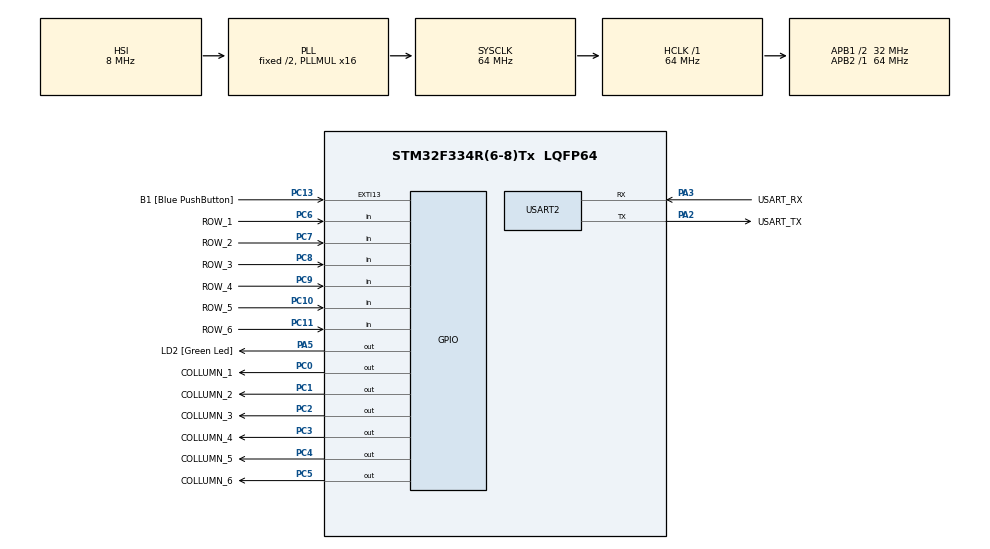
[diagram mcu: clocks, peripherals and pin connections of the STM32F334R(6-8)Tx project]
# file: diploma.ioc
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Mcu.Family=STM32F3
Mcu.Name=STM32F334R(6-8)Tx
Mcu.Package=LQFP64
NVIC.PriorityGroup=NVIC_PRIORITYGROUP_0
NVIC.USART2_IRQn=true\:0\:0\:false\:false\:true\:true\:true\:true
PA13.GPIO_Label=TMS
PA13.Mode=Serial_Wire
PA13.Signal=SYS_JTMS-SWDIO
PA14.GPIO_Label=TCK
PA14.Mode=Serial_Wire
PA14.Signal=SYS_JTCK-SWCLK
PA2.GPIO_Label=USART_TX
PA2.Mode=Asynchronous
PA2.Signal=USART2_TX
PA3.GPIO_Label=USART_RX
PA3.Mode=Asynchronous
PA3.Signal=USART2_RX
PA5.GPIO_Label=LD2 [Green Led]
PA5.Signal=GPIO_Output
PB3.GPIO_Label=SWO
PB3.Signal=SYS_JTDO-TRACESWO
PC0.GPIO_Label=COLLUMN_1
PC0.Signal=GPIO_Output
PC1.GPIO_Label=COLLUMN_2
PC1.Signal=GPIO_Output
PC10.GPIO_Label=ROW_5
PC10.GPIO_PuPd=GPIO_PULLDOWN
PC10.Signal=GPIO_Input
PC11.GPIO_Label=ROW_6
PC11.GPIO_PuPd=GPIO_PULLDOWN
PC11.Signal=GPIO_Input
PC13.GPIO_Label=B1 [Blue PushButton]
PC13.GPIO_ModeDefaultEXTI=GPIO_MODE_IT_FALLING
PC13.Signal=GPXTI13
PC14\ /\ OSC32_IN.Mode=LSE-External-Oscillator
PC14\ /\ OSC32_IN.Signal=RCC_OSC32_IN
PC15\ /\ OSC32_OUT.GPIO_Label=RCC_OSC32_OUT
PC15\ /\ OSC32_OUT.Mode=LSE-External-Oscillator
PC15\ /\ OSC32_OUT.Signal=RCC_OSC32_OUT
PC2.GPIO_Label=COLLUMN_3
PC2.Signal=GPIO_Output
PC3.GPIO_Label=COLLUMN_4
PC3.Signal=GPIO_Output
PC4.GPIO_Label=COLLUMN_5
PC4.Signal=GPIO_Output
PC5.GPIO_Label=COLLUMN_6
PC5.Signal=GPIO_Output
PC6.GPIO_Label=ROW_1
PC6.GPIO_PuPd=GPIO_PULLDOWN
PC6.Signal=GPIO_Input
PC7.GPIO_Label=ROW_2
PC7.GPIO_PuPd=GPIO_PULLDOWN
PC7.Signal=GPIO_Input
PC8.GPIO_Label=ROW_3
PC8.GPIO_PuPd=GPIO_PULLDOWN
PC8.Signal=GPIO_Input
PC9.GPIO_Label=ROW_4
PC9.GPIO_PuPd=GPIO_PULLDOWN
PC9.Signal=GPIO_Input
PF0\ /\ OSC_IN.Mode=HSE-External-Clock-Source
PF0\ /\ OSC_IN.Signal=RCC_OSC_IN
PF1\ /\ OSC_OUT.Signal=RCC_OSC_OUT
ProjectManager.HeapSize=0x200
ProjectManager.StackSize=0x400
ProjectManager.TargetToolchain=STM32CubeIDE
RCC.AHBFreq_Value=64000000
RCC.APB1CLKDivider=RCC_HCLK_DIV2
RCC.APB1Freq_Value=32000000
RCC.APB1TimFreq_Value=64000000
RCC.APB2Freq_Value=64000000
RCC.APB2TimFreq_Value=64000000
RCC.CortexFreq_Value=64000000
RCC.FLatency-AdvancedSettings=FLASH_LATENCY_2
RCC.HCLKFreq_Value=64000000
RCC.HSE_VALUE=8000000
RCC.HSI_VALUE=8000000
RCC.PLLMUL=RCC_PLL_MUL16
RCC.SYSCLKFreq_VALUE=64000000
RCC.SYSCLKSourceVirtual=RCC_SYSCLKSOURCE_PLLCLK
USART2.VirtualMode-Asynchronous=VM_ASYNC
VP_HRTIM1_VS_hrtimMasterTimerNoOutput.Mode=MasterTimer
board=NUCLEO-F334R8

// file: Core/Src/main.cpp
/* USER CODE BEGIN Header */
/**
  ******************************************************************************
  * @file           : main.c
  * @brief          : Main program body
  ******************************************************************************
  * @attention
  *
  * Copyright (c) 2024 STMicroelectronics.
  * All rights reserved.
  *
  * This software is licensed under terms that can be found in the LICENSE file
  * in the root directory of this software component.
  * If no LICENSE file comes with this software, it is provided AS-IS.
  *
  ******************************************************************************
  */
/* USER CODE END Header */
#include "main.h"

/* USER CODE BEGIN Includes */
#include "stdint.h"
#include "matrix.h"
#include "gpio.h"
#include "config.h"
/* USER CODE END Includes */

HRTIM_HandleTypeDef hhrtim1;

UART_HandleTypeDef huart2;

void SystemClock_Config(void);
static void MX_GPIO_Init(void);
static void MX_USART2_UART_Init(void);
static void MX_HRTIM1_Init(void);

int main(void)
{

  /* MCU Configuration--------------------------------------------------------*/

  /* Reset of all peripherals, Initializes the Flash interface and the Systick. */
  HAL_Init();

  /* Configure the system clock */
  SystemClock_Config();

  /* Initialize all configured peripherals */
  MX_GPIO_Init();
  MX_USART2_UART_Init();
  MX_HRTIM1_Init();

  /* Infinite loop */
  /* USER CODE BEGIN WHILE */
  InputPin raw1(ROW_1_GPIO_Port, ROW_1_Pin);
  InputPin raw2(ROW_2_GPIO_Port, ROW_2_Pin);
  InputPin raw3(ROW_3_GPIO_Port, ROW_3_Pin);
  InputPin raw4(ROW_4_GPIO_Port, ROW_4_Pin);
  InputPin raw5(ROW_5_GPIO_Port, ROW_5_Pin);
  InputPin raw6(ROW_6_GPIO_Port, ROW_6_Pin);

  OutputPin collumn1(COLLUMN_1_GPIO_Port, COLLUMN_1_Pin);
  OutputPin collumn2(COLLUMN_2_GPIO_Port, COLLUMN_2_Pin);
  OutputPin collumn3(COLLUMN_3_GPIO_Port, COLLUMN_3_Pin);
  OutputPin collumn4(COLLUMN_4_GPIO_Port, COLLUMN_4_Pin);
  OutputPin collumn5(COLLUMN_5_GPIO_Port, COLLUMN_5_Pin);
  OutputPin collumn6(COLLUMN_6_GPIO_Port, COLLUMN_6_Pin);

  InputPin inputs[] = {raw1, raw2, raw3, raw4, raw5, raw6};
  OutputPin outputs[] = {collumn1, collumn2, collumn3, collumn4, collumn5, collumn6};

  Matrix matrix(inputs, outputs);

  ConfigController conf(&huart2, &matrix);
  while (1)
  {
  	matrix.work();
  	conf.work();
    /* USER CODE END WHILE */

  }
}

void SystemClock_Config(void)
{
  RCC_OscInitTypeDef RCC_OscInitStruct = {0};
  RCC_ClkInitTypeDef RCC_ClkInitStruct = {0};
  RCC_PeriphCLKInitTypeDef PeriphClkInit = {0};

  /** Initializes the RCC Oscillators according to the specified parameters
  * in the RCC_OscInitTypeDef structure.
  */
  RCC_OscInitStruct.OscillatorType = RCC_OSCILLATORTYPE_HSI;
  RCC_OscInitStruct.HSIState = RCC_HSI_ON;
  RCC_OscInitStruct.HSICalibrationValue = RCC_HSICALIBRATION_DEFAULT;
  RCC_OscInitStruct.PLL.PLLState = RCC_PLL_ON;
  RCC_OscInitStruct.PLL.PLLSource = RCC_PLLSOURCE_HSI;
  RCC_OscInitStruct.PLL.PLLMUL = RCC_PLL_MUL16;
  if (HAL_RCC_OscConfig(&RCC_OscInitStruct) != HAL_OK)
  {
    Error_Handler();
  }

  /** Initializes the CPU, AHB and APB buses clocks
  */
  RCC_ClkInitStruct.ClockType = RCC_CLOCKTYPE_HCLK|RCC_CLOCKTYPE_SYSCLK
                              |RCC_CLOCKTYPE_PCLK1|RCC_CLOCKTYPE_PCLK2;
  RCC_ClkInitStruct.SYSCLKSource = RCC_SYSCLKSOURCE_PLLCLK;
  RCC_ClkInitStruct.AHBCLKDivider = RCC_SYSCLK_DIV1;
  RCC_ClkInitStruct.APB1CLKDivider = RCC_HCLK_DIV2;
  RCC_ClkInitStruct.APB2CLKDivider = RCC_HCLK_DIV1;

  if (HAL_RCC_ClockConfig(&RCC_ClkInitStruct, FLASH_LATENCY_2) != HAL_OK)
  {
    Error_Handler();
  }
  PeriphClkInit.PeriphClockSelection = RCC_PERIPHCLK_HRTIM1;
  PeriphClkInit.Hrtim1ClockSelection = RCC_HRTIM1CLK_HCLK;
  if (HAL_RCCEx_PeriphCLKConfig(&PeriphClkInit) != HAL_OK)
  {
    Error_Handler();
  }
}

static void MX_HRTIM1_Init(void)
{

  HRTIM_TimeBaseCfgTypeDef pTimeBaseCfg = {0};
  HRTIM_TimerCfgTypeDef pTimerCfg = {0};

  hhrtim1.Instance = HRTIM1;
  hhrtim1.Init.HRTIMInterruptResquests = HRTIM_IT_NONE;
  hhrtim1.Init.SyncOptions = HRTIM_SYNCOPTION_NONE;
  if (HAL_HRTIM_Init(&hhrtim1) != HAL_OK)
  {
    Error_Handler();
  }
  pTimeBaseCfg.Period = 0xFFFD;
  pTimeBaseCfg.RepetitionCounter = 0x00;
  pTimeBaseCfg.PrescalerRatio = HRTIM_PRESCALERRATIO_DIV1;
  pTimeBaseCfg.Mode = HRTIM_MODE_CONTINUOUS;
  if (HAL_HRTIM_TimeBaseConfig(&hhrtim1, HRTIM_TIMERINDEX_MASTER, &pTimeBaseCfg) != HAL_OK)
  {
    Error_Handler();
  }
  pTimerCfg.InterruptRequests = HRTIM_MASTER_IT_NONE;
  pTimerCfg.DMARequests = HRTIM_MASTER_DMA_NONE;
  pTimerCfg.DMASrcAddress = 0x0000;
  pTimerCfg.DMADstAddress = 0x0000;
  pTimerCfg.DMASize = 0x1;
  pTimerCfg.HalfModeEnable = HRTIM_HALFMODE_DISABLED;
  pTimerCfg.StartOnSync = HRTIM_SYNCSTART_DISABLED;
  pTimerCfg.ResetOnSync = HRTIM_SYNCRESET_DISABLED;
  pTimerCfg.DACSynchro = HRTIM_DACSYNC_NONE;
  pTimerCfg.PreloadEnable = HRTIM_PRELOAD_DISABLED;
  pTimerCfg.UpdateGating = HRTIM_UPDATEGATING_INDEPENDENT;
  pTimerCfg.BurstMode = HRTIM_TIMERBURSTMODE_MAINTAINCLOCK;
  pTimerCfg.RepetitionUpdate = HRTIM_UPDATEONREPETITION_DISABLED;
  if (HAL_HRTIM_WaveformTimerConfig(&hhrtim1, HRTIM_TIMERINDEX_MASTER, &pTimerCfg) != HAL_OK)
  {
    Error_Handler();
  }

}

static void MX_USART2_UART_Init(void)
{

  huart2.Instance = USART2;
  huart2.Init.BaudRate = 38400;
  huart2.Init.WordLength = UART_WORDLENGTH_8B;
  huart2.Init.StopBits = UART_STOPBITS_1;
  huart2.Init.Parity = UART_PARITY_NONE;
  huart2.Init.Mode = UART_MODE_TX_RX;
  huart2.Init.HwFlowCtl = UART_HWCONTROL_NONE;
  huart2.Init.OverSampling = UART_OVERSAMPLING_16;
  huart2.Init.OneBitSampling = UART_ONE_BIT_SAMPLE_DISABLE;
  huart2.AdvancedInit.AdvFeatureInit = UART_ADVFEATURE_NO_INIT;
  if (HAL_UART_Init(&huart2) != HAL_OK)
  {
    Error_Handler();
  }

}

static void MX_GPIO_Init(void)
{
  GPIO_InitTypeDef GPIO_InitStruct = {0};

  /* GPIO Ports Clock Enable */
  __HAL_RCC_GPIOC_CLK_ENABLE();
  __HAL_RCC_GPIOF_CLK_ENABLE();
  __HAL_RCC_GPIOA_CLK_ENABLE();
  __HAL_RCC_GPIOB_CLK_ENABLE();

  /*Configure GPIO pin Output Level */
  HAL_GPIO_WritePin(GPIOC, COLLUMN_1_Pin|COLLUMN_2_Pin|COLLUMN_3_Pin|COLLUMN_4_Pin
                          |COLLUMN_5_Pin|COLLUMN_6_Pin, GPIO_PIN_RESET);

  /*Configure GPIO pin Output Level */
  HAL_GPIO_WritePin(LD2_GPIO_Port, LD2_Pin, GPIO_PIN_RESET);

  /*Configure GPIO pin : B1_Pin */
  GPIO_InitStruct.Pin = B1_Pin;
  GPIO_InitStruct.Mode = GPIO_MODE_IT_FALLING;
  GPIO_InitStruct.Pull = GPIO_NOPULL;
  HAL_GPIO_Init(B1_GPIO_Port, &GPIO_InitStruct);

  /*Configure GPIO pins : COLLUMN_1_Pin COLLUMN_2_Pin COLLUMN_3_Pin COLLUMN_4_Pin
                           COLLUMN_5_Pin COLLUMN_6_Pin */
  GPIO_InitStruct.Pin = COLLUMN_1_Pin|COLLUMN_2_Pin|COLLUMN_3_Pin|COLLUMN_4_Pin
                          |COLLUMN_5_Pin|COLLUMN_6_Pin;
  GPIO_InitStruct.Mode = GPIO_MODE_OUTPUT_PP;
  GPIO_InitStruct.Pull = GPIO_NOPULL;
  GPIO_InitStruct.Speed = GPIO_SPEED_FREQ_LOW;
  HAL_GPIO_Init(GPIOC, &GPIO_InitStruct);

  /*Configure GPIO pin : LD2_Pin */
  GPIO_InitStruct.Pin = LD2_Pin;
  GPIO_InitStruct.Mode = GPIO_MODE_OUTPUT_PP;
  GPIO_InitStruct.Pull = GPIO_NOPULL;
  GPIO_InitStruct.Speed = GPIO_SPEED_FREQ_LOW;
  HAL_GPIO_Init(LD2_GPIO_Port, &GPIO_InitStruct);

  /*Configure GPIO pins : ROW_1_Pin ROW_2_Pin ROW_3_Pin ROW_4_Pin
                           ROW_5_Pin ROW_6_Pin */
  GPIO_InitStruct.Pin = ROW_1_Pin|ROW_2_Pin|ROW_3_Pin|ROW_4_Pin
                          |ROW_5_Pin|ROW_6_Pin;
  GPIO_InitStruct.Mode = GPIO_MODE_INPUT;
  GPIO_InitStruct.Pull = GPIO_PULLDOWN;
  HAL_GPIO_Init(GPIOC, &GPIO_InitStruct);

}

void Error_Handler(void)
{
  __disable_irq();
  while (1)
  {
  }
}
